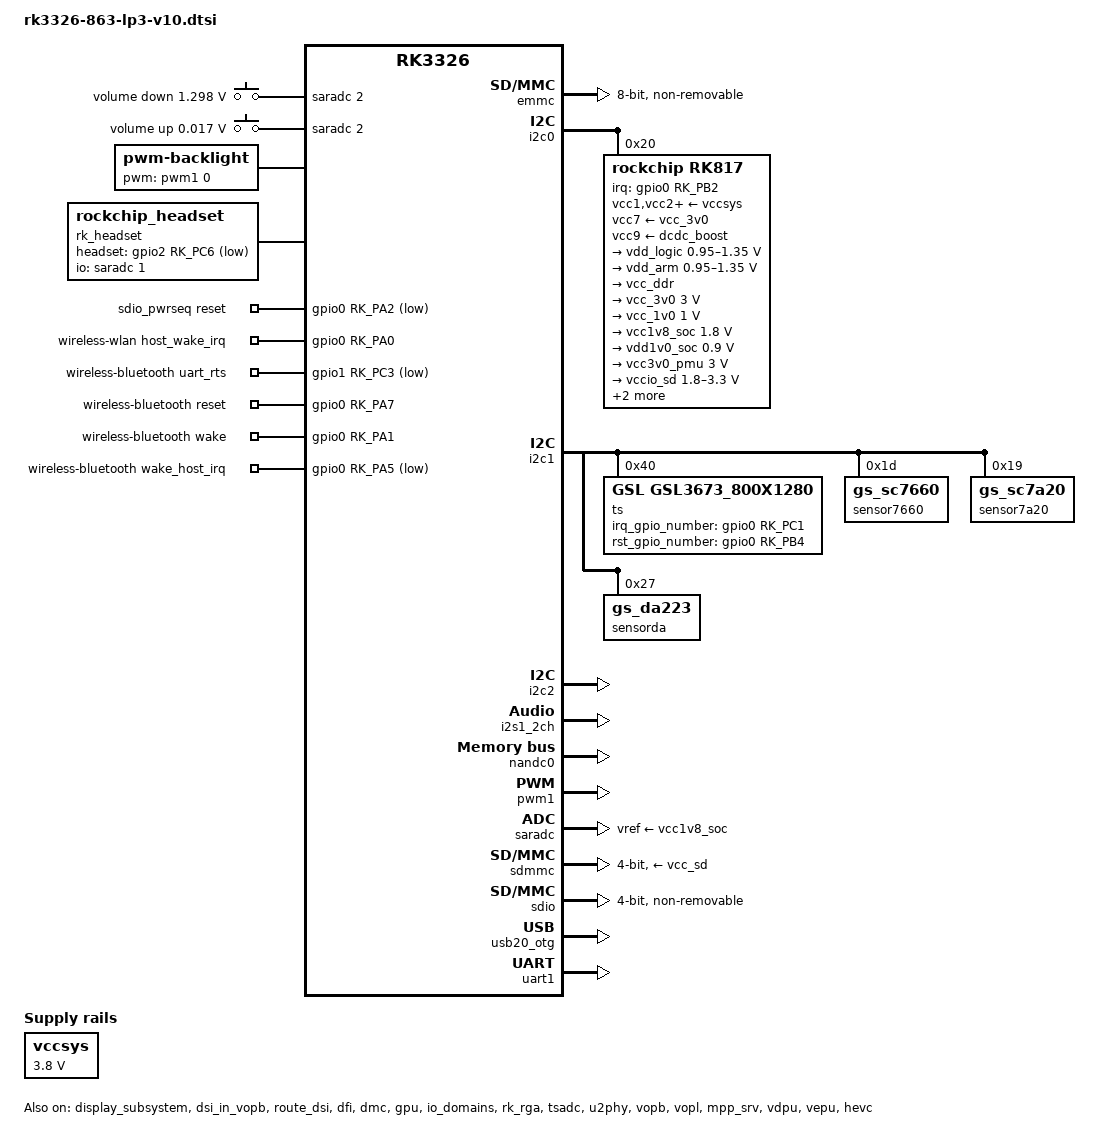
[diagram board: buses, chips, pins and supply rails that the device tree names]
// SPDX-License-Identifier: (GPL-2.0+ OR MIT)
/*
 * Copyright (c) 2017 Fuzhou Rockchip Electronics Co., Ltd
 */

/dts-v1/;
#include <dt-bindings/display/drm_mipi_dsi.h>
#include <dt-bindings/gpio/gpio.h>
#include <dt-bindings/input/input.h>
#include <dt-bindings/pinctrl/rockchip.h>
#include <dt-bindings/sensor-dev.h>
#include "rk3326.dtsi"
#include "rk3326-863-cif-sensor.dtsi"
#include "px30-android.dtsi"
 
#define BOARD_IS_863
//#define BOARD_IS_Q8_86V

//#include "lcd/3326_lcd_mipi_r863_10inch_800x1280_SQ101E-Q4II315-39R501-ILI9881C_INX_F101A35.dtsi"
//#include "lcd/lcd_rk3326_mipi_r863_10inch_800x1280_boe_9365.dtsi"
//#include "lcd/lcd_rk3326_r863_10inch_800x1280_SQ101E-Q4II315-39R501-ILI9881C_INX_F101A35.dtsi"  //10.1
//#include "lcd/lcd_rk3326_mipi_boe_r863_7inch_1024x600_ek79007.dtsi"
#include "lcd/lcd_rk3326_mipi_boe_r8638_10inch_800x1280_boe_9881.dtsi"
//#include "lcd/lcd_rk3326_mipi_7_5inch_1080x1440_r863.dtsi"
//#include "lcd_mipi_r863_10inch_800x1280_bendun_z4.dtsi"
//#include "lcd_mipi_r862_10inch_800x1280_K101-IM2HA02-L.dtsi"
//#include "lcd/lcd_3326s_rgb_800x480_incar.dtsi"
//#include "lcd/lcd_3326s_rgb_1024x600_incar.dtsi" //7cun
//#include "lcd_lvds_1024x600_incar.dtsi"
//#include "ddr/rk3326s-ddr3-4x512.dtsi"
//#include "ddr/rk3326s-lpddr3-220.dtsi"
//#include "ddr/rk3326s-lpddr3-221.dtsi"
#include "ddr/rk3326s-lpddr2-134.dtsi"

/ {
	adc-keys {
		compatible = "adc-keys";
		io-channels = <&saradc 2>;
		io-channel-names = "buttons";
		poll-interval = <100>;
		keyup-threshold-microvolt = <1800000>;

		vol-down-key {
			linux,code = <KEY_VOLUMEDOWN>;
			label = "volume down";
			press-threshold-microvolt = <1297500>;
		};

		vol-up-key {
			linux,code = <KEY_VOLUMEUP>;
			label = "volume up";
			press-threshold-microvolt = <17000>;
		};
	};
 
	backlight: backlight {
		compatible = "pwm-backlight";
		pwms = <&pwm1 0 25000 0>;
		brightness-levels = <
			 0   10  10  11  11  12  12  13
			 13  14  14  15  15  16  16  17
			 17  18  18  19  20  21  22  23
			 24  25  26  27  28  29  30  31
			 32  33  34  35  36  37  38  39
			 40  41  42  43  44  45  46  47
			 48  49  50  51  52  53  54  55
			 56  57  58  59  60  61  62  63
			 64  65  66  67  68  69  70  71
			 72  73  74  75  76  77  78  79
			 80  81  82  83  84  85  86  87
			 88  89  90  91  92  93  94  95
			 96  97  98  99 100 101 102 103
			104 105 106 107 108 109 110 111
			112 113 114 115 116 117 118 119
			120 121 122 123 124 125 126 127
			128 129 130 131 132 133 134 135
			136 137 138 139 140 141 142 143
			144 145 146 147 148 149 150 151
			152 153 154 155 156 157 158 159
			160 161 162 163 164 165 166 167
			168 169 170 171 172 173 174 175
			176 177 178 179 180 181 182 183
			184 185 186 187 188 189 190 191
			192 193 194 195 196 197 198 199
			200 201 202 203 204 205 206 207
			208 209 210 211 212 213 214 215
			216 217 218 219 220 221 222 223
			224 225 226 227 228 229 230 231
			232 233 234 235 236 237 238 239
			240 241 242 243 244 245 246 247
			248 249 250 251 252 253 254 255>;
		default-brightness-level = <96>;
	};

	charge-animation {
		compatible = "rockchip,uboot-charge";
		rockchip,uboot-charge-on = <0>;
		rockchip,android-charge-on = <1>;
		rockchip,uboot-low-power-voltage = <3500>;
		rockchip,screen-on-voltage = <3600>;
		status = "okay";
	};

	rk817-sound {
		compatible = "simple-audio-card";
		simple-audio-card,format = "i2s";
		simple-audio-card,name = "rockchip-rk817-codec";
		simple-audio-card,mclk-fs = <256>;
		simple-audio-card,widgets =
			"Microphone", "Mic Jack",
			"Headphone", "Headphone Jack";
		simple-audio-card,routing =
			"Mic Jack", "MICBIAS1",
			"IN1P", "Mic Jack",
			"Headphone Jack", "HPOL",
			"Headphone Jack", "HPOR";
		simple-audio-card,cpu {
			sound-dai = <&i2s1_2ch>;
		};
		simple-audio-card,codec {
			sound-dai = <&rk817_codec>;
		};
	};

	rk_headset: rk-headset {
		compatible = "rockchip_headset";
		headset_gpio = <&gpio2 RK_PC6 GPIO_ACTIVE_LOW>;
		pinctrl-names = "default";
		pinctrl-0 = <&hp_det>;
		io-channels = <&saradc 1>;
	};

	sdio_pwrseq: sdio-pwrseq {
		compatible = "mmc-pwrseq-simple";
		clocks = <&cru SCLK_WIFI_PMU>;
		clock-names = "clk_wifi_pmu";
		pinctrl-names = "default";
		pinctrl-0 = <&wifi_enable_h>;

		/*
		 * On the module itself this is one of these (depending
		 * on the actual card populated):
		 * - SDIO_RESET_L_WL_REG_ON
		 * - PDN (power down when low)
		 */
		reset-gpios = <&gpio0 RK_PA2 GPIO_ACTIVE_LOW>; /* GPIO3_A4 */
	};

	vccsys: vccsys {
		compatible = "regulator-fixed";
		regulator-name = "vcc3v8_sys";
		regulator-always-on;
		regulator-boot-on;
		regulator-min-microvolt = <3800000>;
		regulator-max-microvolt = <3800000>;
	};

	wireless-wlan {
		compatible = "wlan-platdata";
		wifi_chip_type = "rtl8723cs";
		WIFI,host_wake_irq = <&gpio0 RK_PA0 GPIO_ACTIVE_HIGH>;
		//WIFI,vbat_gpio = <&gpio3 RK_PB6 GPIO_ACTIVE_LOW>;
		status = "okay";
	};

	wireless-bluetooth {
		compatible = "bluetooth-platdata";
		uart_rts_gpios = <&gpio1 RK_PC3 GPIO_ACTIVE_LOW>;
		pinctrl-names = "default","rts_gpio";
		pinctrl-0 = <&uart1_rts>;
		pinctrl-1 = <&uart1_rts_gpio>;
		BT,reset_gpio = <&gpio0 RK_PA7 GPIO_ACTIVE_HIGH>;
		BT,wake_gpio = <&gpio0 RK_PA1 GPIO_ACTIVE_HIGH>;
		BT,wake_host_irq = <&gpio0 RK_PA5 GPIO_ACTIVE_LOW>;
		status = "okay";
	};
};


&display_subsystem {
	status = "okay";
};



&dsi_in_vopb {
	status = "okay";
};

&dsi_in_vopl {
	status = "disabled";
};

&route_dsi {
	connect = <&vopb_out_dsi>;
	status = "okay";
};

&bus_apll {
	bus-supply = <&vdd_logic>;
	status = "okay";
};

&cpu0 {
	cpu-supply = <&vdd_arm>;
};

&cpu0_opp_table {
	/*
	 * max IR-drop values on different freq condition for this board!
	 */
	rockchip,board-irdrop = <
		/*MHz	MHz	uV */
		0	815	37500
		816	1119	50000
		1200	1512	75000
	>;
};

&dmc_opp_table {
	/*
	 * max IR-drop values on different freq condition for this board!
	 */
	rockchip,board-irdrop = <
		/*MHz	MHz	uV */
		451	800	75000
	>;
};

&dfi {
	status = "okay";
};

&dmc {
	center-supply = <&vdd_logic>;
	status = "okay";
};

&emmc {
	bus-width = <8>;
	cap-mmc-highspeed;
	mmc-hs200-1_8v;
	supports-emmc;
	disable-wp;
	non-removable;
	num-slots = <1>;
	status = "okay";
};

&gpu {
	mali-supply = <&vdd_logic>;
	status = "okay";
};

&i2c0 {
	status = "okay";

	rk817: pmic@20 {
		compatible = "rockchip,rk817";
		reg = <0x20>;
		interrupt-parent = <&gpio0>;
		interrupts = <RK_PB2 IRQ_TYPE_LEVEL_LOW>;
		pinctrl-names = "default", "pmic-sleep",
				"pmic-power-off", "pmic-reset";
		pinctrl-0 = <&pmic_int>;
		pinctrl-1 = <&soc_slppin_slp>, <&rk817_slppin_slp>;
		pinctrl-2 = <&soc_slppin_gpio>, <&rk817_slppin_pwrdn>;
		pinctrl-3 = <&soc_slppin_slp>, <&rk817_slppin_slp>;
		rockchip,system-power-controller;
		wakeup-source;
		#clock-cells = <1>;
		clock-output-names = "rk808-clkout1", "rk808-clkout2";
		//fb-inner-reg-idxs = <2>;
		/* 1: rst regs (default in codes), 0: rst the pmic */
		pmic-reset-func = <1>;

		vcc1-supply = <&vccsys>;
		vcc2-supply = <&vccsys>;
		vcc3-supply = <&vccsys>;
		vcc4-supply = <&vccsys>;
		vcc5-supply = <&vccsys>;
		vcc6-supply = <&vccsys>;
		vcc7-supply = <&vcc_3v0>;
		vcc8-supply = <&vccsys>;
		vcc9-supply = <&dcdc_boost>;

		pwrkey {
			status = "okay";
		};

		pinctrl_rk8xx: pinctrl_rk8xx {
			gpio-controller;
			#gpio-cells = <2>;

			rk817_ts_gpio1: rk817_ts_gpio1 {
				pins = "gpio_ts";
				function = "pin_fun1";
				/* output-low; */
				/* input-enable; */
			};

			rk817_gt_gpio2: rk817_gt_gpio2 {
				pins = "gpio_gt";
				function = "pin_fun1";
			};

			rk817_pin_ts: rk817_pin_ts {
				pins = "gpio_ts";
				function = "pin_fun0";
			};

			rk817_pin_gt: rk817_pin_gt {
				pins = "gpio_gt";
				function = "pin_fun0";
			};

			rk817_slppin_null: rk817_slppin_null {
				pins = "gpio_slp";
				function = "pin_fun0";
			};

			rk817_slppin_slp: rk817_slppin_slp {
				pins = "gpio_slp";
				function = "pin_fun1";
			};

			rk817_slppin_pwrdn: rk817_slppin_pwrdn {
				pins = "gpio_slp";
				function = "pin_fun2";
			};

			rk817_slppin_rst: rk817_slppin_rst {
				pins = "gpio_slp";
				function = "pin_fun3";
			};
		};

		regulators {
			vdd_logic: DCDC_REG1 {
				regulator-always-on;
				regulator-boot-on;
				regulator-min-microvolt = <950000>;
				regulator-max-microvolt = <1350000>;
				regulator-ramp-delay = <6001>;
				regulator-initial-mode = <0x2>;
				regulator-name = "vdd_logic";
				regulator-state-mem {
					regulator-on-in-suspend;
					regulator-suspend-microvolt = <950000>;
				};
			};

			vdd_arm: DCDC_REG2 {
				regulator-always-on;
				regulator-boot-on;
				regulator-min-microvolt = <950000>;
				regulator-max-microvolt = <1350000>;
				regulator-ramp-delay = <6001>;
				regulator-initial-mode = <0x2>;
				regulator-name = "vdd_arm";
				regulator-state-mem {
					regulator-off-in-suspend;
					regulator-suspend-microvolt = <950000>;
				};
			};

			vcc_ddr: DCDC_REG3 {
				regulator-always-on;
				regulator-boot-on;
				regulator-initial-mode = <0x2>;
				regulator-name = "vcc_ddr";
				regulator-state-mem {
					regulator-on-in-suspend;
				};
			};

			vcc_3v0: DCDC_REG4 {
				regulator-always-on;
				regulator-boot-on;
				regulator-min-microvolt = <3000000>;
				regulator-max-microvolt = <3000000>;
				regulator-initial-mode = <0x2>;
				regulator-name = "vcc_3v0";
				regulator-state-mem {
					regulator-on-in-suspend;
					regulator-suspend-microvolt = <3000000>;
				};
			};

			vcc_1v0: LDO_REG1 {
				regulator-always-on;
				regulator-boot-on;
				regulator-min-microvolt = <1000000>;
				regulator-max-microvolt = <1000000>;
				regulator-name = "vcc_1v0";
				regulator-state-mem {
					regulator-off-in-suspend;
					regulator-suspend-microvolt = <1000000>;
				};
			};

			vcc1v8_soc: LDO_REG2 {
				regulator-always-on;
				regulator-boot-on;
				regulator-min-microvolt = <1800000>;
				regulator-max-microvolt = <1800000>;

				regulator-name = "vcc1v8_soc";
				regulator-state-mem {
					regulator-on-in-suspend;
					regulator-suspend-microvolt = <1800000>;
				};
			};

			vdd1v0_soc: LDO_REG3 {
				regulator-always-on;
				regulator-boot-on;
				regulator-min-microvolt = <900000>;
				regulator-max-microvolt = <900000>;

				regulator-name = "vcc1v0_soc";
				regulator-state-mem {
					regulator-on-in-suspend;
					regulator-suspend-microvolt = <900000>;
				};
			};

			vcc3v0_pmu: LDO_REG4 {
				regulator-always-on;
				regulator-boot-on;
				regulator-min-microvolt = <3000000>;
				regulator-max-microvolt = <3000000>;

				regulator-name = "vcc3v0_pmu";
				regulator-state-mem {
					regulator-on-in-suspend;
					regulator-suspend-microvolt = <3000000>;

				};
			};

			vccio_sd: LDO_REG5 {
				regulator-always-on;
				regulator-boot-on;
				regulator-min-microvolt = <1800000>;
				regulator-max-microvolt = <3300000>;

				regulator-name = "vccio_sd";
				regulator-state-mem {
					regulator-on-in-suspend;
					regulator-suspend-microvolt = <3300000>;
				};
			};

			vcc_sd: LDO_REG6 {
				regulator-min-microvolt = <3300000>;
				regulator-max-microvolt = <3300000>;

				regulator-name = "vcc_sd";
				regulator-state-mem {
					regulator-on-in-suspend;
					regulator-suspend-microvolt = <3300000>;

				};
			};

			vcc2v8_dvp: LDO_REG7 {
				regulator-boot-on;
				regulator-min-microvolt = <2800000>;
				regulator-max-microvolt = <2800000>;

				regulator-name = "vcc2v8_dvp";
				regulator-state-mem {
					regulator-off-in-suspend;
					regulator-suspend-microvolt = <2800000>;
				};
			};

			vcc1v8_dvp: LDO_REG8 {
				regulator-boot-on;
				regulator-min-microvolt = <1800000>;
				regulator-max-microvolt = <1800000>;

				regulator-name = "vcc1v8_dvp";
				regulator-state-mem {
					regulator-off-in-suspend;
					regulator-suspend-microvolt = <1800000>;
				};
			};

			vdd1v5_dvp: LDO_REG9 {
				regulator-boot-on;
				regulator-min-microvolt = <1500000>;
				regulator-max-microvolt = <1500000>;

				regulator-name = "vdd1v5_dvp";
				regulator-state-mem {
					regulator-off-in-suspend;
					regulator-suspend-microvolt = <1500000>;
				};
			};

			dcdc_boost: BOOST {
				regulator-always-on;
				regulator-boot-on;
				regulator-min-microvolt = <4700000>;
				regulator-max-microvolt = <5400000>;
				regulator-name = "boost";
			};

			otg_switch: OTG_SWITCH {
				regulator-name = "otg_switch";
			};
		};

		battery {
			compatible = "rk817,battery";
			ocv_table = <3480 3519 3549 3596 3631 3665 3699
				3731 3769 3801 3839 3879 3909 3941
				3988 4015 4048 4073 4099 4129 4165>;
			design_capacity = <4200>;
			design_qmax = <4500>;
			bat_res = <97>;
			sleep_enter_current = <150>;
			sleep_exit_current = <180>;
			sleep_filter_current = <100>;
			power_off_thresd = <3480>;
			zero_algorithm_vol = <3850>;
			max_soc_offset = <60>;
			monitor_sec = <5>;
			sample_res = <10>;
			virtual_power = <0>;
		};

		charger {
			compatible = "rk817,charger";
			min_input_voltage = <4500>;
			max_input_current = <1500>;
			max_chrg_current = <2000>;
			max_chrg_voltage = <4250>;
			chrg_term_mode = <0>;
			chrg_finish_cur = <300>;
			virtual_power = <0>;
			dc_det_adc = <0>;
			extcon = <&u2phy>;
		};

		rk817_codec: codec {
			#sound-dai-cells = <0>;
			compatible = "rockchip,rk817-codec";
#ifdef BOARD_IS_863
			spk-ctl-gpios = <&gpio3 RK_PB6 GPIO_ACTIVE_HIGH>;
			use-ext-amplifier;
#endif
#ifdef BOARD_IS_Q8_86V
       			spk-ctl-gpios = <&gpio3 RK_PB1 GPIO_ACTIVE_HIGH>;
			use-ext-amplifier;
#endif 
			clocks = <&cru SCLK_I2S1_OUT>;
			clock-names = "mclk";
			pinctrl-names = "default";
			pinctrl-0 = <&i2s1_2ch_mclk>;
			hp-volume = <20>;
			spk-volume = <18>;
			capture-volume =<0x06>; // 0: 0dB   0xff: -95dB  -0.375db/step
			mic-in-differential;
		
			status = "okay";
		};
	};
};

&i2c1 {
	status = "okay";

	ts@40 {
		status = "okay";
		compatible = "GSL,GSL3673_800X1280";
		reg = <0x40>;
		irq_gpio_number = <&gpio0 RK_PC1 IRQ_TYPE_LEVEL_LOW>;
		rst_gpio_number = <&gpio0 RK_PB4 GPIO_ACTIVE_HIGH>;
	};
	sensor7660@1d {
		compatible = "gs_sc7660"; 
		reg = <0x1d>; 
		type = <SENSOR_TYPE_ACCEL>; 
		//irq-gpio = <&gpio2 GPIO_B2 IRQ_TYPE_EDGE_FALLING>; 
		irq_enable = <0>; 
		poll_delay_ms = <10>; 
		layout = <7>; //<7>;//<5>; 
		reprobe_en = <1>;
		revert_x = <0>;
		revert_y = <0>;
		revert_z = <0>;
	};

	sensor7a20@19 {
		compatible = "gs_sc7a20"; 
		reg = <0x19>; 
		type = <SENSOR_TYPE_ACCEL>; 
		//irq-gpio = <&gpio2 GPIO_B2 IRQ_TYPE_EDGE_FALLING>; 
		irq_enable = <0>; 
		poll_delay_ms = <10>; 
		layout = <7>; //<7>;//<5>; 
		reprobe_en = <0>;
#ifdef BOARD_IS_863
		swap_xy = <1>;
		revert_x = <0>;
		revert_y = <1>;
		revert_z = <0>;
#endif
#ifdef BOARD_IS_Q8_86V
       		swap_xy = <0>;
		revert_x = <1>;
		revert_y = <1>;
		revert_z = <0>;
#endif
	};		
       sensorda@27{
               compatible = "gs_da223"; 
               reg = <0x27>; 
               type = <SENSOR_TYPE_ACCEL>; 
               //irq-gpio = <&gpio2 GPIO_B2 IRQ_TYPE_EDGE_FALLING>; 
               irq_enable = <0>; 
               poll_delay_ms = <30>; 
               //layout = <6>; 
               layout = <5>; 
#ifdef BOARD_IS_863	       
	       swap_xy = <1>;
               revert_x = <0>;
               revert_y = <1>;
               revert_z = <0>;  
#endif	       
#ifdef BOARD_IS_Q8_86V
	       swap_xy = <0>;
               revert_x = <0>;
               revert_y = <0>;
               revert_z = <0>; 
#endif
	              
       }; 
/*	sensor@19 {
		status = "disabled";
		compatible = "gs_lis3dh";
		reg = <0x19>;
		type = <SENSOR_TYPE_ACCEL>;
		irq-gpio = <&gpio0 RK_PB5 IRQ_TYPE_LEVEL_LOW>;
		irq_enable = <0>;
		poll_delay_ms = <30>;
		layout = <7>;
		reprobe_en = <1>;
	};*/
};

&i2c2 {
	status = "okay";
};

&i2s1_2ch {
	status = "okay";
	#sound-dai-cells = <0>;
};

&io_domains {
	status = "okay";

	vccio1-supply = <&vcc_3v0>;
	vccio2-supply = <&vccio_sd>;
	vccio3-supply = <&vcc2v8_dvp>;
	vccio4-supply = <&vcc_3v0>;
	vccio5-supply = <&vcc_3v0>;
};

&nandc0 {
	status = "okay";
};

&pinctrl {
	 tp {
        tp_gpio: tp-gpio {
            rockchip,pins = <0 RK_PC1 RK_FUNC_GPIO &pcfg_pull_up>,
                            <0 RK_PB4 RK_FUNC_GPIO &pcfg_pull_none>;
                };
        };
	headphone {
		hp_det: hp-det {
			rockchip,pins = <2 RK_PC6 RK_FUNC_GPIO &pcfg_pull_up>;
		};
	};

	pmic {
		pmic_int: pmic_int {
			rockchip,pins =
				<0 RK_PB2 RK_FUNC_GPIO &pcfg_pull_up>;
		};

		soc_slppin_gpio: soc_slppin_gpio {
			rockchip,pins =
				<0 RK_PA4 RK_FUNC_GPIO &pcfg_output_low>;
		};

		soc_slppin_slp: soc_slppin_slp {
			rockchip,pins =
				<0 RK_PA4 1 &pcfg_pull_none>;
		};

		soc_slppin_rst: soc_slppin_rst {
			rockchip,pins =
				<0 RK_PA4 2 &pcfg_pull_none>;
		};
	};

	sdio-pwrseq {
		wifi_enable_h: wifi-enable-h {
			rockchip,pins = <0 RK_PA2 RK_FUNC_GPIO &pcfg_pull_none>;
		};
	};
};

&pmu_io_domains {
	status = "okay";

	pmuio1-supply = <&vcc3v0_pmu>;
	pmuio2-supply = <&vcc3v0_pmu>;
};

&pwm1 {
	status = "okay";
};

&rk_rga {
	status = "okay";
};

&rockchip_suspend {
	status = "okay";
	rockchip,sleep-debug-en = <1>;
};

&saradc {
	status = "okay";
	vref-supply = <&vcc1v8_soc>;
};

&sdmmc {
	bus-width = <4>;
	cap-mmc-highspeed;
	cap-sd-highspeed;
	supports-sd;
	card-detect-delay = <800>;
	ignore-pm-notify;
	sd-uhs-sdr12;
	sd-uhs-sdr25;
	sd-uhs-sdr50;
	sd-uhs-sdr104;
	vqmmc-supply = <&vccio_sd>;
	vmmc-supply = <&vcc_sd>;
	status = "okay";
};

&sdio {
	bus-width = <4>;
	cap-sd-highspeed;
	supports-sdio;
	ignore-pm-notify;
	keep-power-in-suspend;
	non-removable;
	mmc-pwrseq = <&sdio_pwrseq>;
	sd-uhs-sdr104;
	status = "okay";
};

&tsadc {
	pinctrl-names = "gpio", "otpout";
	pinctrl-0 = <&tsadc_otp_gpio>;
	pinctrl-1 = <&tsadc_otp_out>;
	status = "okay";
};

&u2phy {
	status = "okay";

	u2phy_host: host-port {
		rockchip,low-power-mode;
		status = "okay";
	};

	u2phy_otg: otg-port {
		rockchip,low-power-mode;
		status = "okay";
	};
};

&usb20_otg {
	status = "okay";
};

&uart1 {
	pinctrl-names = "default";
	pinctrl-0 = <&uart1_xfer &uart1_cts>;
	status = "okay";
};

&vip_mmu {
	status = "okay";
};

&vopb {
	status = "okay";
};

&vopb_mmu {
	status = "okay";
};

&vopl {
	status = "okay";
};

&vopl_mmu {
	status = "okay";
};

&mpp_srv {
	status = "okay";
};

&vdpu {
	status = "okay";
};

&vepu {
	status = "okay";
};

&vpu_mmu {
	status = "okay";
};

&hevc {
	status = "okay";
};

&hevc_mmu {
	status = "okay";
};
